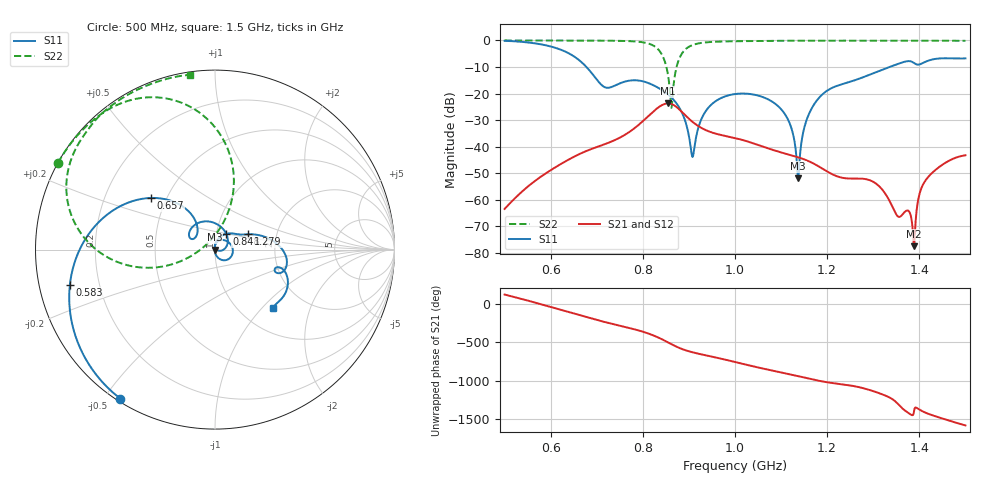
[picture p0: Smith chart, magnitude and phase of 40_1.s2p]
! TOUCHSTONE file generated by CST MICROWAVE STUDIO
! Date and time: Fri Oct  2 17:14:18 2020
! Project name: Scenario_1_Free_Space_out_of_line.cst
! Parameters = {Lambda=346.42; Step_1=17.321; dy1=-328.659; dx1=173; L_HA=400; MT=2.54; Rad_Dielectric=30; Rad_Lower=7.3; Rad_Upper=30; a_HA=580; a_WG=246; b_HA=500; b_WG=121; c_HA=0; c_WG=187; d_feed=85; h_feed=15; h_lower=18; h_upper=40}
! Header version: 2018
! Port assignment regex: !\s*Touchstone port\s*([0-9]+)\s*=\s*(CST MWS port|CST DS port)\s*([0-9]+|Zmin|Zmax)\s*\(\"(.*)\"\)(\s*mode\s*([0-9]+))?.*
! Touchstone port assignment:
! Touchstone port 1 = CST MWS port 1 ("")
! Touchstone port 2 = CST MWS port 2 ("")
# GHz S DB R 50
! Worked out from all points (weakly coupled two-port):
!   1003 points, 500 MHz to 1.5 GHz, reference 50 ohm
!   highest |S21| = -23.68 dB at 855 MHz (marker M1); lowest = -77.4 dB at 1.388 GHz (marker M2)
!   lowest |S11| = -51.9 dB at 1.137 GHz (marker M3), VSWR 1.01, Z = 49.7 - j0.0186 ohm
!   |S11| at or under -10 dB: 677.6 MHz to 1.335 GHz (657.6 MHz wide, 65.3 % of centre)
!   |S22| runs from -25.4 to 0.0 dB; largest |S21 - S12| = 4.7e-05
!   S11 on the Smith chart (normalised r, x): 500 MHz: 0.01, -0.55; 583 MHz: 0.09, -0.12; 657 MHz: 0.41, +0.30; 848 MHz: 1.12, +0.19; 1.279 GHz: 1.43, +0.26; 1.5 GHz: 1.40, -1.16
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0.5  -0.15 -122.5  -63.40 127.7  -63.40 127.7  -0.01 151.2
0.583  -1.60 -166.4  -50.75 -6.4  -50.75 -6.4  -0.01 145.4
0.657  -6.78 141.1  -43.20 -132.7  -43.20 -132.7  -0.04 139.4
0.667  -8.20 134.1  -42.38 -149.9  -42.38 -149.9  -0.04 138.4
0.719  -17.70 141.1  -38.93 125.0  -38.93 125.0  -0.09 132.6
0.834  -17.88 72.5  -25.16 -77.1  -25.16 -77.1  -3.49 89.2
0.848  -19.43 53.2  -23.87 -118.5  -23.87 -118.5  -8.06 74.5
0.855  -20.37 42.9  -23.68 -140.7  -23.68 -140.7  -13.41 70.7
0.863  -21.64 30.6  -23.97 -166.2  -23.97 -166.2  -24.48 159.5
0.879  -25.26 5.2  -25.95 147.9  -25.95 147.9  -6.87 -167.8
0.908  -43.85 38.9  -30.66 90.7  -30.66 90.7  -1.72 166.8
0.939  -25.99 69.9  -33.92 47.6  -33.93 47.6  -0.69 153.0
1  -20.17 4.1  -36.72 -36.2  -36.72 -36.2  -0.30 140.6
1.099  -25.66 -67.2  -42.08 -172.0  -42.08 -172.0  -0.13 130.1
1.122  -32.78 -84.3  -43.19 158.2  -43.19 158.3  -0.11 128.1
1.137  -51.94 -175.8  -43.95 138.1  -43.95 138.2  -0.11 126.8
1.167  -25.38 76.6  -46.01 96.8  -46.01 96.9  -0.10 124.4
1.279  -13.78 24.7  -52.05 -21.0  -52.05 -20.9  -0.09 115.8
1.334  -10.08 10.6  -59.92 -138.0  -60.00 -138.1  -0.09 111.7
1.388  -8.42 -20.3  -77.41 18.3  -77.35 18.1  -0.10 107.5
1.414  -7.98 -16.6  -52.54 17.3  -52.54 17.3  -0.10 105.4
1.5  -6.74 -45.3  -43.21 -148.4  -43.20 -148.0  -0.14 98.1
